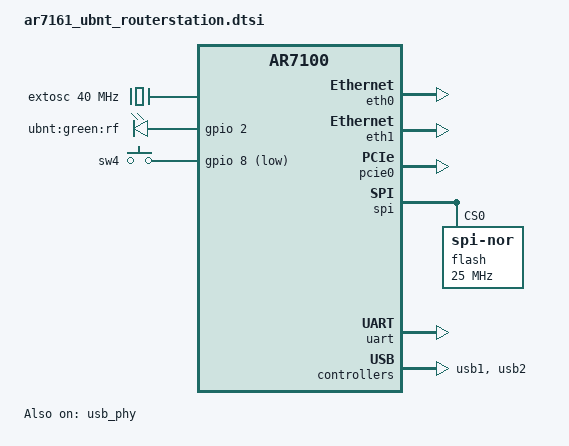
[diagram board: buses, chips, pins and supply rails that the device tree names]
// SPDX-License-Identifier: GPL-2.0-or-later OR MIT

#include <dt-bindings/gpio/gpio.h>
#include <dt-bindings/input/input.h>

#include "ar7100.dtsi"

/ {
	chosen {
		bootargs = "console=ttyS0,115200";
	};

	aliases {
		led-boot = &led_rf;
		led-failsafe = &led_rf;
		led-running = &led_rf;
		led-upgrade = &led_rf;
	};

	extosc: ref {
		compatible = "fixed-clock";
		#clock-cells = <0>;
		clock-output-names = "ref";
		clock-frequency = <40000000>;
	};

	leds {
		compatible = "gpio-leds";

		led_rf: rf_green {
			label = "ubnt:green:rf";
			gpios = <&gpio 2 GPIO_ACTIVE_HIGH>;
		};
	};

	keys {
		compatible = "gpio-keys";

		wps {
			label = "sw4";
			linux,code = <KEY_RESTART>;
			gpios = <&gpio 8 GPIO_ACTIVE_LOW>;
			debounce-interval = <60>;
		};
	};
};

&eth0 {
	status = "okay";
};

&eth1 {
	status = "okay";
};

&pcie0 {
	status = "okay";
};

&spi {
	status = "okay";
	num-cs = <1>;

	flash@0 {
		compatible = "jedec,spi-nor";
		reg = <0>;
		spi-max-frequency = <25000000>;

		partitions {
			compatible = "ecoscentric,redboot-fis-partitions";
		};
	};
};

&uart {
	status = "okay";
};

&usb_phy {
	status = "okay";
};

&usb1 {
	status = "okay";
	#address-cells = <1>;
	#size-cells = <0>;

	usb_ohci_port: port@1 {
		reg = <1>;
		#trigger-source-cells = <0>;
	};
};

&usb2 {
	status = "okay";
	#address-cells = <1>;
	#size-cells = <0>;

	usb_ehci_port: port@1 {
		reg = <1>;
		#trigger-source-cells = <0>;
	};
};
